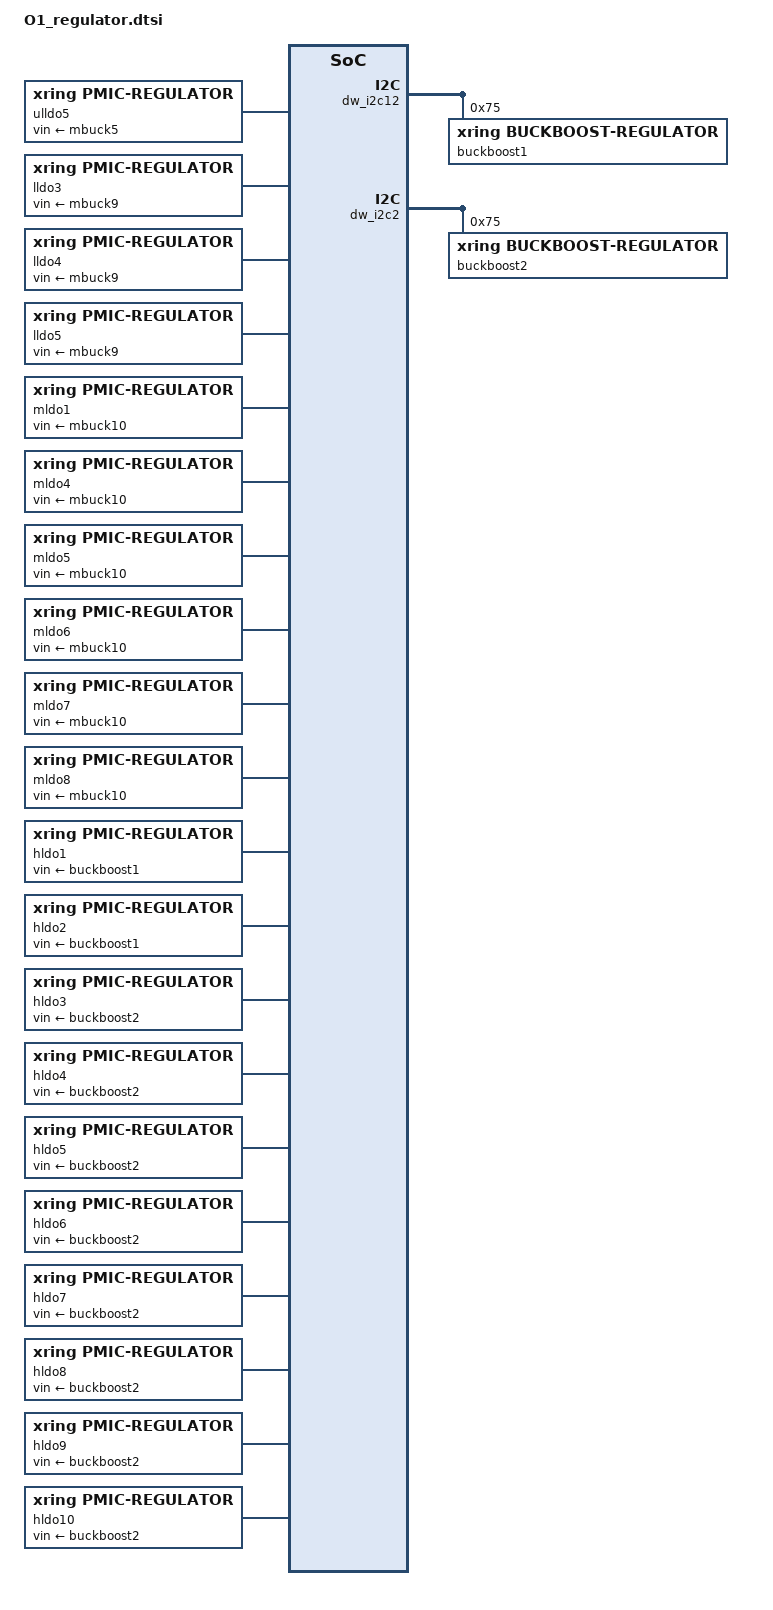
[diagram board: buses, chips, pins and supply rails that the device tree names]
#include <dt-bindings/interrupt-controller/arm-gic.h>
#include <dt-bindings/xring/vote_mng_define.h>
#include <dt-bindings/xring/platform-specific/ip_regulator_define.h>
#include <dt-bindings/xring/platform-specific/pmic/pmic_regulator_def.h>
#include <dt-bindings/xring/platform-specific/hwlock/spin_lock_id.h>
#include <dt-bindings/xring/xr-o1-clock.h>
#include "O1_pmic.dtsi"
#include "O1_i2c.dtsi"

/ {
	xring_ip_regulator: xring_ip_regulator{
		regulator-name = "xring_ip_regulator";
		compatible = "simple-bus";

		vdd_gpu: vdd_gpu{
			compatible = "xring,regulator_xctrl_cpu";
			regulator-name = "vdd_gpu";
			regulator-id = <VDD_GPU_ID>;
			vote-mngs = <&m1_arbiter_xctrlcpu VOTE_MNG_M1_XCTRLCPU_CH2>;
			vote-mng-names = "m3_mng_gpu_subsys";
			vote-mng-mode = <1>;
			xring,regulator_trace_id = <1>;
		};

		gpu_subsys: gpu_subsys{
			compatible = "xring,regulator_gpc";
			regulator-name = "gpu_subsys";
			regulator-id = <GPU_SUBSYS_ID>;
			xring,supply_name = "vdd_gpu";
			flow-ctrl = <GPU_SUBSYS_ID>;
			off-on-delay = <150>;
			xring,regulator_trace_id = <1>;
			xring,hwlock_id = <PERI_SPIN_LOCK_ID_1_2>;
		};

		npu_subsys: npu_subsys{
			compatible = "xring,regulator_xctrl_cpu";
			regulator-name = "npu_subsys";
			regulator-id = <NPU_SUBSYS_ID>;
			vote-mngs = <&m3_arbiter_xctrlcpu VOTE_MNG_M3_XCTRLCPU_CH1>;
			vote-mng-names = "m3_mng_npu_subsys";
			vote-mng-mode = <3>;
			vote-mng-ch = <0>;
			vote-off-sync = <1>;
			flow-ctrl = <NPU_SUBSYS_ID>;
		};

		npu_ocm: npu_ocm{
			compatible = "xring,regulator_xctrl_cpu";
			regulator-name = "npu_ocm";
			regulator-id = <NPU_OCM_ID>;
			clocks = <&xr_clk XR_CLK_OCM>;
			clock-names = "clk_ocm";
			vote-mngs = <&m3_arbiter_xctrlcpu VOTE_MNG_M3_XCTRLCPU_CH6>;
			vote-mng-names = "m3_mng_npu_ocm";
			vote-mng-mode = <3>;
			vote-mng-ch = <0>;
		};

		npu_vdsp: npu_vdsp{
			compatible = "xring,regulator_xctrl_cpu";
			regulator-name = "npu_vdsp";
			regulator-id = <NPU_VDSP_ID>;
			vote-mngs = <&m3_arbiter_xctrlcpu VOTE_MNG_M3_XCTRLCPU_CH2>;
			vote-mng-names = "m3_mng_npu_vdsp";
			vote-mng-ch = <0>;
			vote-off-sync = <1>;
			vote-mng-mode = <3>;
			flow-ctrl = <NPU_VDSP_ID>;
		};

		media1_subsys: media1_subsys{
			compatible = "xring,regulator_lpcore";
			regulator-name = "media1_subsys";
			regulator-id = <MEDIA1_SUBSYS_ID>;
			vote-mngs = <&m1_arbiter_lpctrl VOTE_MNG_M1_LPCTRL_CH2>;
			vote-mng-names = "m1_mng_media1_subsys";
			clocks = <&xr_clk XR_ACLK_MEDIA1_BUS>,
				 <&xr_clk XR_PCLK_MEDIA1_CFG_INI>;
			clock-names = "aclk_media1_bus_ini",
				      "pclk_media1_cfg_ini";
			clock-rate-dis = <26112000>;
			clock-rate-en = <417792000 139264000>;
			flow-ctrl = <MEDIA1_SUBSYS_ID>;
		};

		vdec_subsys: vdec_subsys{
			compatible = "xring,regulator_atf";
			regulator-name = "vdec_subsys";
			xring,supply_name = "media1_subsys";
			regulator-id = <VDEC_SUBSYS_ID>;
			flow-ctrl = <VDEC_SUBSYS_ID>;
		};

		dpu0: dpu0{
			compatible = "xring,regulator_atf";
			regulator-name = "dpu0";
			xring,supply_name = "media1_subsys";
			regulator-id = <DPU0_ID>;
			flow-ctrl = <DPU0_ID>;
		};

		dpu1: dpu1{
			compatible = "xring,regulator_gpc";
			regulator-name = "dpu1";
			xring,supply_name = "dpu0";
			regulator-id = <DPU1_ID>;
			flow-ctrl = <DPU1_ID>;
			off-on-delay = <150>;
		};

		dpu2: dpu2{
			compatible = "xring,regulator_gpc";
			regulator-name = "dpu2";
			xring,supply_name = "dpu1";
			regulator-id = <DPU2_ID>;
			flow-ctrl = <DPU2_ID>;
			off-on-delay = <150>;
		};

		veu_top_subsys: veu_top_subsys{
			compatible = "xring,regulator_gpc";
			regulator-name = "veu_top_subsys";
			xring,supply_name = "dpu0";
			regulator-id = <VEU_TOP_SUBSYS_ID>;
			flow-ctrl = <VEU_TOP_SUBSYS_ID>;
			off-on-delay = <150>;
		};

		vdec_core: vdec_core{
			compatible = "xring,regulator_gpc";
			regulator-name = "vdec_core";
			xring,supply_name = "vdec_subsys";
			regulator-id = <VDEC_CORE_ID>;
			off-on-delay = <150>;
		};

		media2_subsys: media2_subsys{
			compatible = "xring,regulator_lpcore";
			regulator-name = "media2_subsys";
			regulator-id = <MEDIA2_SUBSYS_ID>;
			vote-mngs = <&m1_arbiter_lpctrl VOTE_MNG_M1_LPCTRL_CH2>;
			vote-mng-names = "m1_mng_media2_subsys";
			clocks = <&xr_clk XR_ACLK_MEDIA2_BUS>,
			         <&xr_clk XR_CLK_MEDIA2_NOC_DATA>,
				 <&xr_clk XR_PCLK_MEDIA2_CFG_INI>;
			clock-names = "aclk_media2_bus_ini",
				      "clk_media2_noc_data",
				      "pclk_media2_cfg_ini";
			clock-rate-dis = <104448000>;
			clock-rate-en = <417792000 557056000 139264000>;
			flow-ctrl = <MEDIA2_SUBSYS_ID>;
		};

		isp_subsys: isp_subsys{
			compatible = "xring,regulator_atf";
			regulator-name = "isp_subsys";
			xring,supply_name = "media2_subsys";
			regulator-id = <ISP_SUBSYS_ID>;
			flow-ctrl = <ISP_SUBSYS_ID>;
		};

		isp_mcu_top: isp_mcu_top{
			compatible = "xring,regulator_atf";
			regulator-name = "isp_mcu_top";
			xring,supply_name = "isp_subsys";
			regulator-id = <ISP_MCU_TOP_ID>;
			flow-ctrl = <ISP_MCU_TOP_ID>;
		};

		isp_top_fe_core0: isp_top_fe_core0{
			compatible = "xring,regulator_atf";
			regulator-name = "isp_top_fe_core0";
			xring,supply_name = "isp_mcu_top";
			regulator-id = <ISP_TOP_FE_CORE0_ID>;
		};

		isp_top_fe_core1: isp_top_fe_core1{
			compatible = "xring,regulator_atf";
			regulator-name = "isp_top_fe_core1";
			xring,supply_name = "isp_mcu_top";
			regulator-id = <ISP_TOP_FE_CORE1_ID>;
		};

		isp_top_fe_core2: isp_top_fe_core2{
			compatible = "xring,regulator_atf";
			regulator-name = "isp_top_fe_core2";
			xring,supply_name = "isp_mcu_top";
			regulator-id = <ISP_TOP_FE_CORE2_ID>;
		};

		isp_top_be: isp_top_be{
			compatible = "xring,regulator_atf";
			regulator-name = "isp_top_be";
			xring,supply_name = "isp_mcu_top";
			regulator-id = <ISP_TOP_BE_ID>;
		};

		isp_top_pe: isp_top_pe{
			compatible = "xring,regulator_atf";
			regulator-name = "isp_top_pe";
			xring,supply_name = "isp_mcu_top";
			regulator-id = <ISP_TOP_PE_ID>;
		};

		venc_subsys: venc_subsys{
			compatible = "xring,regulator_atf";
			regulator-name = "venc_subsys";
			xring,supply_name = "media2_subsys";
			regulator-id = <VENC_SUBSYS_ID>;
			flow-ctrl = <VENC_SUBSYS_ID>;
		};

		asp: asp{
			compatible = "xring,regulator_lpcore";
			regulator-name = "asp";
			regulator-id = <ASP_ID>;
			vote-mngs = <&m1_arbiter_lpctrl VOTE_MNG_M1_LPCTRL_CH2>;
			vote-mng-names = "m3_mng_asp";
		};
	};

	xr_regulator_state: xr_regulator_state{
		compatible = "xring,xr-regulator-state";
		sync-regulators = "media1_subsys", "media2_subsys";
		status = "okay";
	};

};

&pmic {
	mbuck5: mbuck5 {
		compatible = "xring,pmic-regulator";
		regulator-name = "mbuck5";
		regulator-id = <MPMIC_MBUCK5>;
		step-uV = <5000>;
		regulator-always-on;
	};

	mbuck9: mbuck9 {
		compatible = "xring,pmic-regulator";
		regulator-name = "mbuck9";
		regulator-id = <MPMIC_MBUCK9>;
		step-uV = <5000>;
		regulator-always-on;
		xring,sub_regulator_on_delay = <50>;
	};

	mbuck10: mbuck10 {
		compatible = "xring,pmic-regulator";
		regulator-name = "mbuck10";
		regulator-id = <MPMIC_MBUCK10>;
		step-uV = <10000>;
		regulator-always-on;
		xring,sub_regulator_on_delay = <50>;
	};

	ulldo5: ulldo5 {
		compatible = "xring,pmic-regulator";
		regulator-name = "ulldo5";
		regulator-id = <MPMIC_ULLDO5>;
		vin-supply = <&mbuck5>;
		regulator-min-microvolt = <540000>;
		regulator-max-microvolt = <1320000>;
		step-uV = <10000>;
	};

	lldo3: lldo3 {
		compatible = "xring,pmic-regulator";
		regulator-name = "lldo3";
		regulator-id = <MPMIC_LLDO3>;
		vin-supply = <&mbuck9>;
		regulator-min-microvolt = <540000>;
		regulator-max-microvolt = <1320000>;
		step-uV = <10000>;
		regulator-state-mem {
			regulator-on-in-suspend;
		};
	};

	lldo4: lldo4 {
		compatible = "xring,pmic-regulator";
		regulator-name = "lldo4";
		regulator-id = <MPMIC_LLDO4>;
		vin-supply = <&mbuck9>;
		regulator-min-microvolt = <540000>;
		regulator-max-microvolt = <1320000>;
		step-uV = <10000>;
	};

	lldo5: lldo5 {
		compatible = "xring,pmic-regulator";
		regulator-name = "lldo5";
		regulator-id = <MPMIC_LLDO5>;
		vin-supply = <&mbuck9>;
		regulator-min-microvolt = <540000>;
		regulator-max-microvolt = <1320000>;
		step-uV = <10000>;
	};

	mldo1: mldo1 {
		compatible = "xring,pmic-regulator";
		regulator-name = "mldo1";
		regulator-id = <MPMIC_MLDO1>;
		vin-supply = <&mbuck10>;
		regulator-min-microvolt = <1650000>;
		regulator-max-microvolt = <1960000>;
		step-uV = <10000>;
		regulator-state-mem {
			regulator-on-in-suspend;
		};
	};

	mldo4: mldo4 {
		compatible = "xring,pmic-regulator";
		regulator-name = "mldo4";
		regulator-id = <MPMIC_MLDO4>;
		vin-supply = <&mbuck10>;
		regulator-min-microvolt = <1650000>;
		regulator-max-microvolt = <1960000>;
		step-uV = <10000>;
		regulator-state-mem {
			regulator-on-in-suspend;
		};
	};

	mldo5: mldo5 {
		compatible = "xring,pmic-regulator";
		regulator-name = "mldo5";
		regulator-id = <MPMIC_MLDO5>;
		vin-supply = <&mbuck10>;
		regulator-min-microvolt = <1650000>;
		regulator-max-microvolt = <1960000>;
		step-uV = <10000>;
	};

	mldo6: mldo6 {
		compatible = "xring,pmic-regulator";
		regulator-name = "mldo6";
		regulator-id = <MPMIC_MLDO6>;
		vin-supply = <&mbuck10>;
		regulator-min-microvolt = <1650000>;
		regulator-max-microvolt = <1960000>;
		step-uV = <10000>;
	};

	mldo7: mldo7 {
		compatible = "xring,pmic-regulator";
		regulator-name = "mldo7";
		regulator-id = <MPMIC_MLDO7>;
		vin-supply = <&mbuck10>;
		regulator-min-microvolt = <1650000>;
		regulator-max-microvolt = <1960000>;
		step-uV = <10000>;
	};

	mldo8: mldo8 {
		compatible = "xring,pmic-regulator";
		regulator-name = "mldo8";
		regulator-id = <MPMIC_MLDO8>;
		vin-supply = <&mbuck10>;
		regulator-min-microvolt = <1650000>;
		regulator-max-microvolt = <1960000>;
		step-uV = <10000>;
		regulator-state-mem {
			regulator-on-in-suspend;
		};
	};

	hldo1: hldo1 {
		compatible = "xring,pmic-regulator";
		regulator-name = "hldo1";
		regulator-id = <MPMIC_HLDO1>;
		vin-supply = <&buckboost1>;
		regulator-min-microvolt = <2400000>;
		regulator-max-microvolt = <3020000>;
		step-uV = <20000>;
		regulator-always-on;
	};

	hldo2: hldo2 {
		compatible = "xring,pmic-regulator";
		regulator-name = "hldo2";
		regulator-id = <MPMIC_HLDO2>;
		vin-supply = <&buckboost1>;
		regulator-min-microvolt = <2700000>;
		regulator-max-microvolt = <3475000>;
		step-uV = <25000>;
	};

	hldo3: hldo3 {
		compatible = "xring,pmic-regulator";
		regulator-name = "hldo3";
		regulator-id = <MPMIC_HLDO3>;
		vin-supply = <&buckboost2>;
		regulator-min-microvolt = <2700000>;
		regulator-max-microvolt = <3475000>;
		step-uV = <25000>;
	};

	hldo4: hldo4 {
		compatible = "xring,pmic-regulator";
		regulator-name = "hldo4";
		regulator-id = <MPMIC_HLDO4>;
		vin-supply = <&buckboost2>;
		regulator-min-microvolt = <2700000>;
		regulator-max-microvolt = <3475000>;
		step-uV = <25000>;
		regulator-always-on;
	};

	hldo5: hldo5 {
		compatible = "xring,pmic-regulator";
		regulator-name = "hldo5";
		regulator-id = <MPMIC_HLDO5>;
		vin-supply = <&buckboost2>;
		regulator-min-microvolt = <2700000>;
		regulator-max-microvolt = <3475000>;
		step-uV = <25000>;
	};

	hldo6: hldo6 {
		compatible = "xring,pmic-regulator";
		regulator-name = "hldo6";
		regulator-id = <MPMIC_HLDO6>;
		vin-supply = <&buckboost2>;
		regulator-min-microvolt = <2700000>;
		regulator-max-microvolt = <3475000>;
		step-uV = <25000>;
		regulator-state-mem {
			regulator-on-in-suspend;
		};
	};

	hldo7: hldo7 {
		compatible = "xring,pmic-regulator";
		regulator-name = "hldo7";
		regulator-id = <MPMIC_HLDO7>;
		vin-supply = <&buckboost2>;
		regulator-min-microvolt = <2700000>;
		regulator-max-microvolt = <3475000>;
		step-uV = <25000>;
		regulator-state-mem {
			regulator-on-in-suspend;
		};
	};

	hldo8: hldo8 {
		compatible = "xring,pmic-regulator";
		regulator-name = "hldo8";
		regulator-id = <MPMIC_HLDO8>;
		vin-supply = <&buckboost2>;
		regulator-min-microvolt = <2700000>;
		regulator-max-microvolt = <3475000>;
		step-uV = <25000>;
	};

	hldo9: hldo9 {
		compatible = "xring,pmic-regulator";
		regulator-name = "hldo9";
		regulator-id = <MPMIC_HLDO9>;
		vin-supply = <&buckboost2>;
		regulator-min-microvolt = <2700000>;
		regulator-max-microvolt = <3475000>;
		step-uV = <25000>;
	};

	hldo10: hldo10 {
		compatible = "xring,pmic-regulator";
		regulator-name = "hldo10";
		regulator-id = <MPMIC_HLDO10>;
		vin-supply = <&buckboost2>;
		regulator-min-microvolt = <2700000>;
		regulator-max-microvolt = <3475000>;
		step-uV = <25000>;
	};
};

&dw_i2c12 {
	buckboost1: buckboost@75 {
		compatible = "xring,buckboost-regulator";
		reg = <0x75>;
		regulator-name = "buckboost1";
		regulator-min-microvolt = <3000000>;
		regulator-max-microvolt = <3000000>;
		regulator-always-on;
		xring,sub_regulator_on_delay = <50>;
		status = "okay";
	};
};

&dw_i2c2{
	buckboost2: buckboost@75 {
		compatible = "xring,buckboost-regulator";
		reg = <0x75>;
		regulator-name = "buckboost2";
		regulator-min-microvolt = <3400000>;
		regulator-max-microvolt = <3400000>;
		regulator-always-on;
		xring,sub_regulator_on_delay = <50>;
		status = "okay";
	};
};
